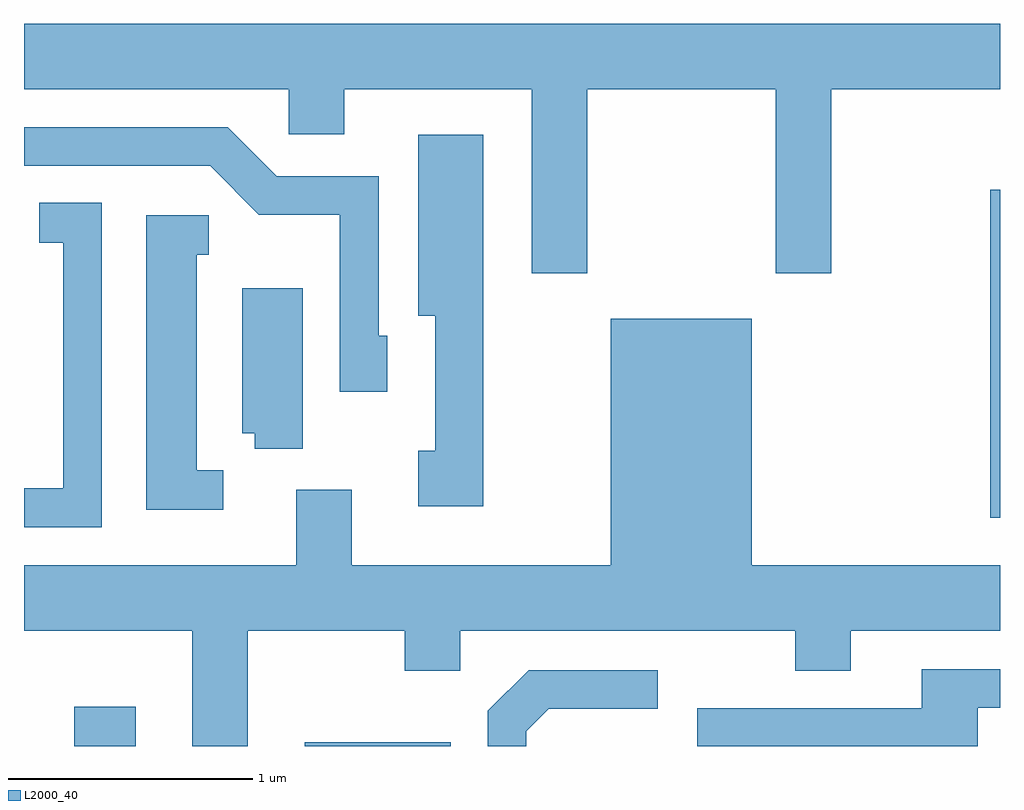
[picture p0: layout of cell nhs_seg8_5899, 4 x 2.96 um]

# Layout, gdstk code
import gdstk
lib = gdstk.Library(unit=1e-6, precision=1e-09)
def R(c, l, rs):  # rectangles x0, y0, x1, y1
    for r in rs: c.add(gdstk.rectangle(r[:2], r[2:], *l))
def P(c, l, *ps):  # polygons
    for p in ps: c.add(gdstk.Polygon(p, *l))
L2000_40 = (2000, 40)

nhs_seg8_5899 = lib.new_cell('nhs_seg8_5899')
R(nhs_seg8_5899, L2000_40, [(361.816,1880.342,362.069,1880.504), (362.761,1880.342,363.359,1880.359), (365.571,1881.278,365.611,1882.623)])
P(nhs_seg8_5899, L2000_40, [(363.919,1883.036),(364.691,1883.036),(364.691,1882.281),(364.919,1882.281),(364.919,1883.036),(365.611,1883.036),(365.611,1883.304),(361.611,1883.304),(361.611,1883.036),(362.696,1883.036),(362.696,1882.851),(362.924,1882.851),(362.924,1883.036),(363.691,1883.036),(363.691,1882.281),(363.919,1882.281)],
  [(363.099,1882.024),(363.064,1882.024),(363.064,1882.679),(362.647,1882.679),(362.447,1882.879),(361.611,1882.879),(361.611,1882.721),(362.374,1882.721),(362.574,1882.521),(362.906,1882.521),(362.906,1881.796),(363.099,1881.796)],
  [(363.494,1882.849),(363.226,1882.849),(363.226,1882.106),(363.296,1882.106),(363.296,1881.554),(363.226,1881.554),(363.226,1881.326),(363.494,1881.326)],
  [(361.929,1882.569),(361.673,1882.569),(361.673,1882.406),(361.771,1882.406),(361.771,1881.399),(361.611,1881.399),(361.611,1881.241),(361.929,1881.241)],
  [(362.428,1881.474),(362.319,1881.474),(362.319,1882.356),(362.368,1882.356),(362.368,1882.519),(362.111,1882.519),(362.111,1881.311),(362.428,1881.311)],
  [(362.754,1882.219),(362.506,1882.219),(362.506,1881.626),(362.556,1881.626),(362.556,1881.561),(362.754,1881.561)],
  [(362.529,1880.816),(363.171,1880.816),(363.171,1880.651),(363.399,1880.651),(363.399,1880.816),(364.771,1880.816),(364.771,1880.651),(364.999,1880.651),(364.999,1880.816),(365.611,1880.816),(365.611,1881.084),(364.594,1881.084),(364.594,1882.094),(364.016,1882.094),(364.016,1881.084),(362.954,1881.084),(362.954,1881.394),(362.726,1881.394),(362.726,1881.084),(361.611,1881.084),(361.611,1880.816),(362.301,1880.816),(362.301,1880.342),(362.529,1880.342)],
  [(365.519,1880.501),(365.611,1880.501),(365.611,1880.659),(365.291,1880.659),(365.291,1880.499),(364.371,1880.499),(364.371,1880.342),(365.519,1880.342)],
  [(363.669,1880.404),(363.762,1880.496),(364.208,1880.496),(364.208,1880.654),(363.679,1880.654),(363.511,1880.487),(363.511,1880.342),(363.669,1880.342)])

lib.write_gds('nhs_seg8_5899.gds')
